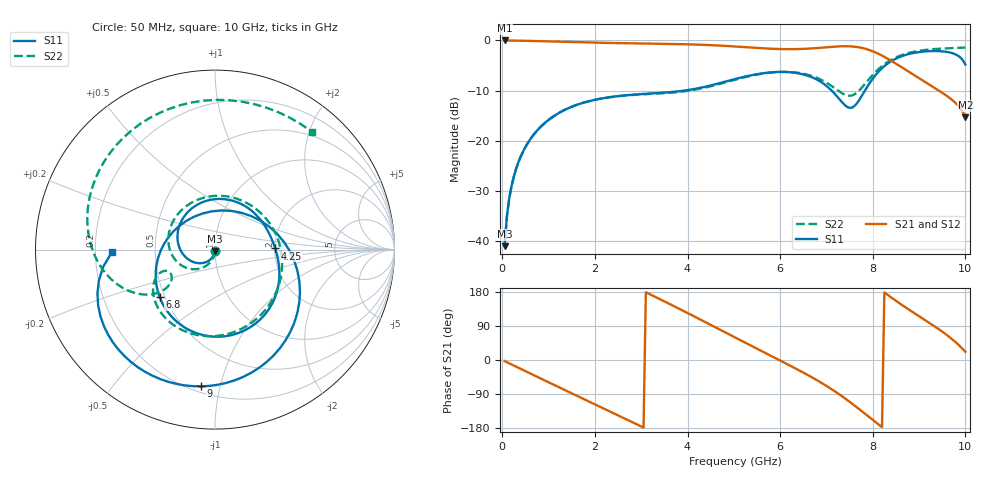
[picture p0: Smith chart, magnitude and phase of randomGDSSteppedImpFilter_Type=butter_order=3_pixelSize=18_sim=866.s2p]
! freq	dB(S11)	phase(S11)	dB(S12)	phase(S12)
!  dB(S21)	phase(S21)	dB(S22)	phase(S22)
!S-par simulation data
#  GHz  S  DB  R 50
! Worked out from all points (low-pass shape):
!   200 points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, 50 MHz to 10 GHz, reference 50 ohm
!   highest |S21| = 0.00 dB at 50 MHz (marker M1); lowest = -15.3 dB at 10 GHz (marker M2)
!   |S21| within 3 dB of the highest: start of sweep to 8.197 GHz
!   lowest |S11| = -41.0 dB at 50 MHz (marker M3), VSWR 1.02, Z = 49.9 - j0.889 ohm
!   |S11| at or under -10 dB: start of sweep to 3.924 GHz; 7.112 GHz to 7.831 GHz (718.5 MHz wide, 9.62 % of centre)
!   |S22| runs from -41.0 to -1.4 dB; largest |S21 - S12| = 0
!   S11 on the Smith chart (normalised r, x): 50 MHz: 1.00, -0.02; 4.25 GHz: 2.01, +0.03; 6.8 GHz: 0.47, -0.30; 9 GHz: 0.24, -0.87; 10 GHz: 0.27, -0.01
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0.05  -41.00 -93.7  -0.00 -2.9  -0.00 -2.9  -41.01 -92.4
0.1  -34.99 -97.3  -0.01 -5.9  -0.01 -5.9  -34.99 -94.8
0.2  -29.00 -104.5  -0.02 -11.8  -0.02 -11.8  -29.00 -99.6
0.5  -21.25 -126.0  -0.07 -29.6  -0.07 -29.6  -21.22 -114.0
1.15  -14.86 -172.2  -0.23 -67.5  -0.23 -67.5  -14.85 -144.4
1.75  -12.41 145.6  -0.38 -102.3  -0.38 -102.3  -12.41 -171.9
2.65  -10.95 84.7  -0.56 -154.7  -0.56 -154.7  -10.99 144.6
3.4  -10.46 40.3  -0.66 160.7  -0.66 160.7  -10.56 100.1
4.25  -9.49 1.1  -0.84 108.4  -0.84 108.4  -9.65 35.1
5.05  -7.64 -33.4  -1.22 58.0  -1.22 58.0  -7.76 -30.8
5.85  -6.32 -74.6  -1.67 8.0  -1.67 8.0  -6.36 -88.5
6.7  -7.39 -130.9  -1.58 -46.7  -1.58 -46.7  -7.12 -139.3
6.8  -7.83 -139.5  -1.51 -53.7  -1.51 -53.7  -7.47 -144.3
7.25  -11.39 165.7  -1.19 -88.3  -1.19 -88.3  -10.00 -157.4
7.65  -12.62 67.2  -1.29 -124.3  -1.29 -124.3  -10.45 -144.3
8  -7.62 -1.0  -2.16 -158.1  -2.16 -158.1  -6.86 -146.4
8.35  -4.42 -42.7  -3.79 169.3  -3.79 169.3  -4.12 -167.6
8.7  -2.91 -73.8  -5.78 139.5  -5.78 139.5  -2.69 165.9
9  -2.31 -96.0  -7.54 115.6  -7.54 115.6  -2.07 141.9
9.55  -2.22 -133.8  -10.75 70.4  -10.75 70.4  -1.60 94.2
9.8  -2.83 -154.4  -12.57 45.9  -12.57 45.9  -1.50 70.5
10  -4.80 -178.4  -15.33 21.7  -15.33 21.7  -1.41 50.7
